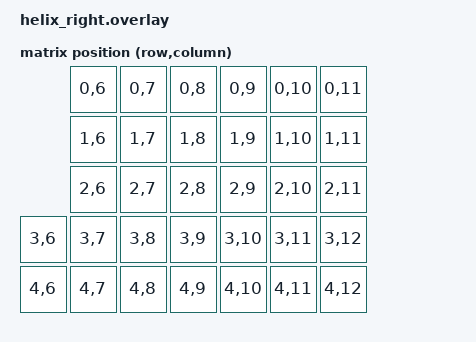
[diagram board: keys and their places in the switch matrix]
#include <dt-bindings/zmk/matrix_transform.h>
#include <physical_layouts.dtsi>

/ {
    chosen {
        zmk,kscan = &kscan0;
        zmk,matrix-transform = &right_only_transform;
        zmk,physical-layout = &helix_right_layout;
    };

    /* 右手側 32キーのみを抽出するマトリクス変換（左から右の物理順） */
    right_only_transform: keymap_transform_right {
        compatible = "zmk,matrix-transform";
        columns = <14>;
        rows = <5>;
        map = <
            RC(0,6) RC(0,7) RC(0,8) RC(0,9) RC(0,10) RC(0,11)
            RC(1,6) RC(1,7) RC(1,8) RC(1,9) RC(1,10) RC(1,11)
            RC(2,6) RC(2,7) RC(2,8) RC(2,9) RC(2,10) RC(2,11)
    RC(3,6) RC(3,7) RC(3,8) RC(3,9) RC(3,10) RC(3,11) RC(3,12)
    RC(4,6) RC(4,7) RC(4,8) RC(4,9) RC(4,10) RC(4,11) RC(4,12)
        >;
    };

    /* ZMK Studio 画面表示用の右手Helix（32キー）物理レイアウト座標 */
    helix_right_layout: helix_right_layout {
        compatible = "zmk,physical-layout";
        display-name = "Helix Right Only";
        transform = <&right_only_transform>;
        kscan = <&kscan0>;

        keys  //                  w   h    x    y     rot rx ry
            = <&key_physical_attrs 100 100  100    0       0  0  0>
            , <&key_physical_attrs 100 100  200    0       0  0  0>
            , <&key_physical_attrs 100 100  300    0       0  0  0>
            , <&key_physical_attrs 100 100  400    0       0  0  0>
            , <&key_physical_attrs 100 100  500    0       0  0  0>
            , <&key_physical_attrs 100 100  600    0       0  0  0>

            , <&key_physical_attrs 100 100  100  100       0  0  0>
            , <&key_physical_attrs 100 100  200  100       0  0  0>
            , <&key_physical_attrs 100 100  300  100       0  0  0>
            , <&key_physical_attrs 100 100  400  100       0  0  0>
            , <&key_physical_attrs 100 100  500  100       0  0  0>
            , <&key_physical_attrs 100 100  600  100       0  0  0>

            , <&key_physical_attrs 100 100  100  200       0  0  0>
            , <&key_physical_attrs 100 100  200  200       0  0  0>
            , <&key_physical_attrs 100 100  300  200       0  0  0>
            , <&key_physical_attrs 100 100  400  200       0  0  0>
            , <&key_physical_attrs 100 100  500  200       0  0  0>
            , <&key_physical_attrs 100 100  600  200       0  0  0>

            , <&key_physical_attrs 100 100    0  300       0  0  0>
            , <&key_physical_attrs 100 100  100  300       0  0  0>
            , <&key_physical_attrs 100 100  200  300       0  0  0>
            , <&key_physical_attrs 100 100  300  300       0  0  0>
            , <&key_physical_attrs 100 100  400  300       0  0  0>
            , <&key_physical_attrs 100 100  500  300       0  0  0>
            , <&key_physical_attrs 100 100  600  300       0  0  0>

            , <&key_physical_attrs 100 100    0  400       0  0  0>
            , <&key_physical_attrs 100 100  100  400       0  0  0>
            , <&key_physical_attrs 100 100  200  400       0  0  0>
            , <&key_physical_attrs 100 100  300  400       0  0  0>
            , <&key_physical_attrs 100 100  400  400       0  0  0>
            , <&key_physical_attrs 100 100  500  400       0  0  0>
            , <&key_physical_attrs 100 100  600  400       0  0  0>
            ;
    };
};
